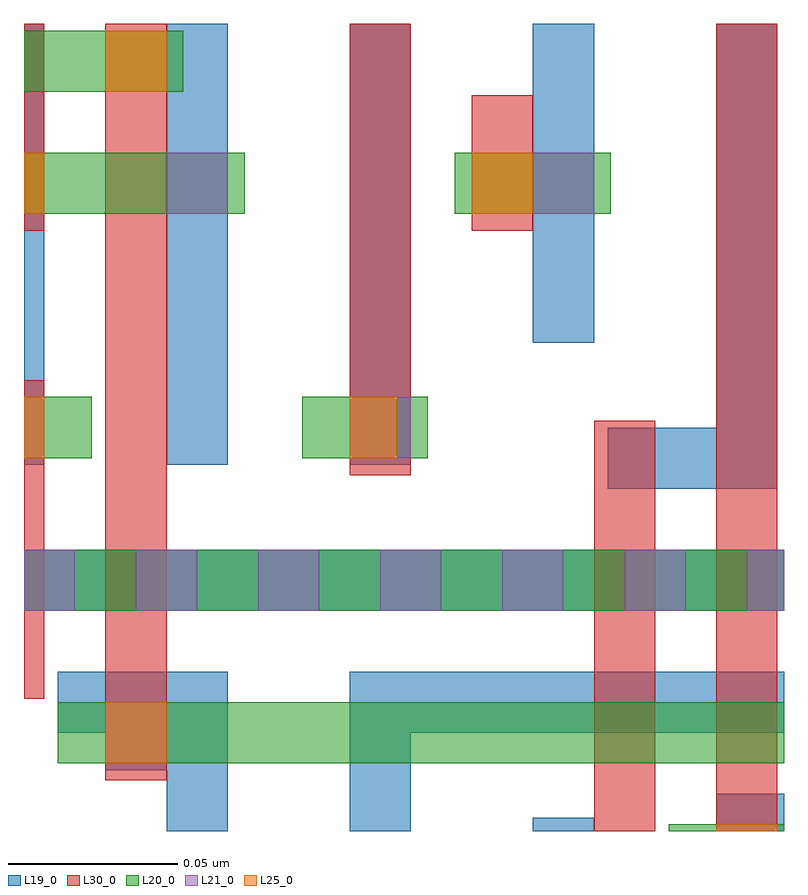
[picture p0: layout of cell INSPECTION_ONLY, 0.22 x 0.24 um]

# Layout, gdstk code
import gdstk
lib = gdstk.Library(unit=1e-6, precision=2.5e-10)
def R(c, l, rs):  # rectangles x0, y0, x1, y1
    for r in rs: c.add(gdstk.rectangle(r[:2], r[2:], *l))
def A(c, l, x, y, w, h, nx, ny, dx, dy):  # array of equal rectangles
    R(c, l, [(x+i*dx, y+j*dy, x+i*dx+w, y+j*dy+h) for i in range(nx) for j in range(ny)])
def P(c, l, *ps):  # polygons
    for p in ps: c.add(gdstk.Polygon(p, *l))
L19_0 = (19, 0)
L20_0 = (20, 0)
L21_0 = (21, 0)
L25_0 = (25, 0)
L30_0 = (30, 0)

inspection_only = lib.new_cell('INSPECTION_ONLY')
R(inspection_only, L19_0, [(9.738,4.516,9.756,4.52), (9.792,4.516,9.81,4.52), (9.792,4.516,9.812,4.527), (9.612,4.534,9.63,4.556), (9.588,4.581,9.812,4.599), (9.588,4.581,9.812,4.599), (9.588,4.581,9.812,4.599), (9.588,4.581,9.666,4.599), (9.666,4.581,9.812,4.599), (9.588,4.624,9.594,4.646), (9.588,4.624,9.594,4.754), (9.63,4.624,9.648,4.754), (9.684,4.624,9.702,4.646), (9.684,4.624,9.702,4.754), (9.738,4.66,9.756,4.754), (9.63,4.696,9.648,4.718), (9.738,4.696,9.756,4.718)])
P(inspection_only, L19_0, [(9.76,4.617),(9.76,4.635),(9.792,4.635),(9.792,4.754),(9.81,4.754),(9.81,4.617)],
  [(9.684,4.516),(9.684,4.563),(9.812,4.563),(9.812,4.545),(9.702,4.545),(9.702,4.516)],
  [(9.63,4.516),(9.63,4.545),(9.598,4.545),(9.598,4.563),(9.648,4.563),(9.648,4.516)])
R(inspection_only, L20_0, [(9.778,4.516,9.812,4.518), (9.598,4.536,9.812,4.554), (9.588,4.581,9.812,4.599), (9.588,4.626,9.608,4.644), (9.67,4.626,9.707,4.644), (9.588,4.698,9.653,4.716), (9.715,4.698,9.761,4.716), (9.588,4.734,9.635,4.752)])
A(inspection_only, L21_0, 9.621, 4.581, 0.018, 0.018, 5, 1, 0.036, 0)
R(inspection_only, L21_0, [(9.792,4.516,9.81,4.518), (9.612,4.536,9.63,4.554), (9.588,4.581,9.603,4.599), (9.801,4.581,9.812,4.599), (9.588,4.626,9.594,4.644), (9.684,4.626,9.702,4.644), (9.63,4.698,9.648,4.716), (9.738,4.698,9.756,4.716)])
R(inspection_only, L25_0, [(9.792,4.516,9.81,4.518), (9.612,4.536,9.63,4.554), (9.588,4.626,9.594,4.644), (9.684,4.626,9.698,4.644), (9.588,4.698,9.594,4.716), (9.72,4.698,9.738,4.716), (9.612,4.734,9.63,4.752)])
R(inspection_only, L30_0, [(9.756,4.516,9.774,4.637), (9.792,4.516,9.81,4.754), (9.612,4.531,9.63,4.754), (9.588,4.555,9.594,4.649), (9.684,4.621,9.702,4.754), (9.588,4.693,9.594,4.754), (9.72,4.693,9.738,4.733)])

lib.write_gds('INSPECTION_ONLY.gds')
